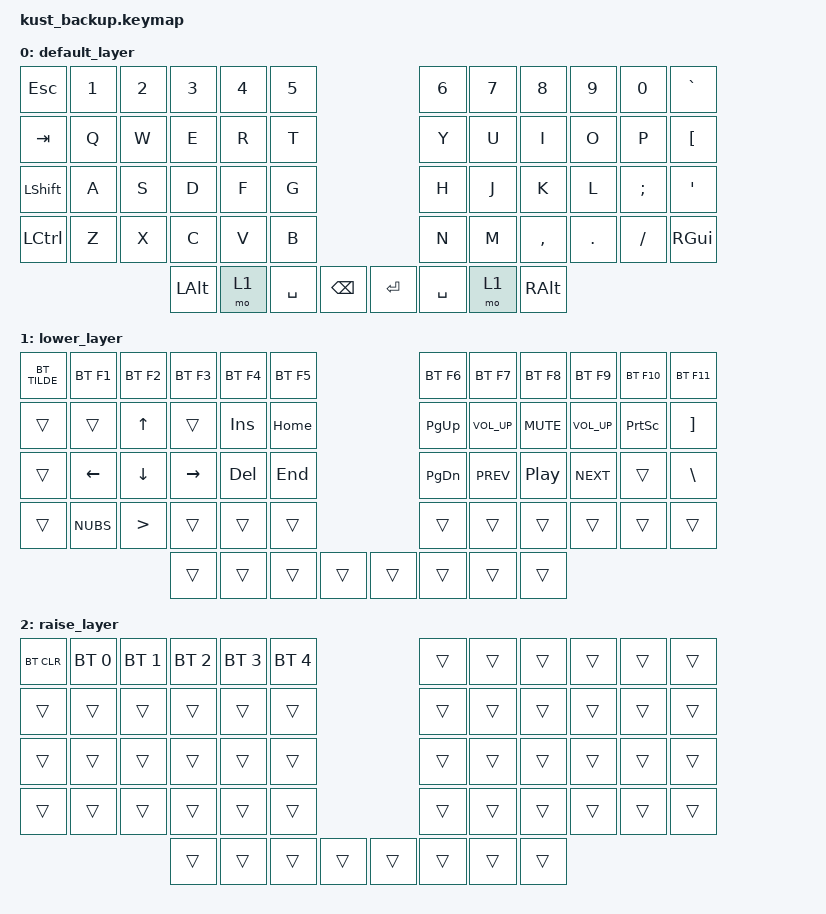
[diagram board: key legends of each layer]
/*
 * Copyright (c) 2020 The ZMK Contributors
 *
 * SPDX-License-Identifier: MIT
 */

#include <behaviors.dtsi>
#include <dt-bindings/zmk/keys.h>
#include <dt-bindings/zmk/bt.h>

/ {
	combos{
		compatible="zmk,combos";
		combo_bt{
			timeout-ms =<50>;
			key-positions = <49 54>;
			bindings = <&mo 2>;
		};
};
	keymap {
		compatible = "zmk,keymap";

		default_layer {
// ------------------------------------------------------------------------------------------------------------
// |  ESC  |  1  |  2  |  3   |  4   |  5   |                   |  6   |  7    |  8    |  9   |   0   |   `   |
// |  TAB  |  Q  |  W  |  E   |  R   |  T   |                   |  Y   |  U    |  I    |  O   |   P   |   -   |
// |  CTRL |  A  |  S  |  D   |  F   |  G   |                   |  H   |  J    |  K    |  L   |   ;   |   '   |
// | SHIFT |  Z  |  X  |  C   |  V   |  B   |   "["  |  |  "]"  |  N   |  M    |  ,    |  .   |   /   | SHIFT |
//                     		  | GUI  | LOWER|  SPACE |  | ENTER | RAISE|  ALT  |
			bindings = <
&kp ESC   &kp N1 &kp N2 &kp N3 &kp N4  &kp N5                      	&kp N6   &kp N7 &kp N8    &kp N9  &kp N0   &kp GRAVE
&kp TAB   &kp Q  &kp W  &kp E  &kp R   &kp T                       	&kp Y    &kp U  &kp I     &kp O   &kp P    &kp LBKT
&kp LSHFT &kp A  &kp S  &kp D  &kp F   &kp G                       	&kp H    &kp J  &kp K     &kp L   &kp SEMI &kp APOS
&kp LCTRL &kp Z  &kp X  &kp C  &kp V   &kp B   		  				&kp N    &kp M  &kp COMMA &kp DOT &kp FSLH &kp RGUI
            	      &kp LALT &mo 1   &kp SPACE &kp BSPC   &kp RET &kp SPACE &mo 1 &kp RALT  
			>;
		};

		lower_layer {
// ------------------------------------------------------------------------------------------------------------
// | BTCLR | BT1 | BT2 |  BT3 |  BT4 |  BT5 |                   |      |       |       |      |       |       |
// |  F1   |  F2 |  F3 |  F4  |  F5  |  F6  |                   |  F7  |  F8   |  F9   |  F10 |  F11  |  F12  |
// |   `   |  !  |  @  |  #   |  $   |  %   |                   |  ^   |  &    |  *    |  (   |   )   |   ~   |
// |       |     |     |      |      |      |        |  |       |      |  _    |  +    |  {   |   }   |  "|"  |
//                            |      |      |        |  |       |      |       |
			bindings = <
&bt TILDE  &bt F1	 &bt F2		      &bt F3	 &bt F4	   &bt F5	          			&bt F6    &bt F7       &bt F8           &bt F9    	  &bt F10   		&bt F11
&trans     &trans    &kp UP       	  &trans     &kp INS   &kp HOME           			&kp PG_UP &kp C_VOL_UP &kp C_MUTE       &kp C_VOL_UP  &kp PRINTSCREEN   &kp RBKT
&trans     &kp LEFT  &kp DOWN     	  &kp RIGHT  &kp DEL   &kp END	          			&kp PG_DN &kp C_PREV   &kp C_PLAY_PAUSE &kp C_NEXT    &trans 			&kp BSLH
&trans     &kp NUBS  &kp GREATER_THAN &trans     &trans    &trans     					&trans    &trans       &trans      		&trans  	  &trans  			&trans
                   	 				  &trans     &trans    &trans    &trans   &trans    &trans    &trans       &trans
			>;
		};

		raise_layer {
// ------------------------------------------------------------------------------------------------------------
// |       |     |     |      |      |      |                   |      |       |       |      |       |       |
// |   `   |  1  |  2  |  3   |  4   |  5   |                   |  6   |   7   |   8   |  9   |   0   |       |
// |   F1  |  F2 |  F3 |  F4  |  F5  |  F6  |                   |      |   <-  |   ^   |  v   |  ->   |       |
// |   F7  |  F8 |  F9 |  F10 |  F11 |  F12 |        |  |       |  +   |   -   |   =   |  [   |   ]   |   \   |
//                            |      |      |        |  |       |      |       |
			bindings = <
&bt BT_CLR &bt BT_SEL 0 &bt BT_SEL 1 &bt BT_SEL 2 &bt BT_SEL 3 &bt BT_SEL 4   		  	&trans      &trans    &trans    &trans   &trans    &trans
&trans     &trans 		&trans 		 &trans  	  &trans   	   &trans         		  	&trans      &trans    &trans    &trans   &trans    &trans
&trans     &trans 		&trans 		 &trans  	  &trans   	   &trans         		  	&trans      &trans    &trans    &trans   &trans    &trans
&trans     &trans 		&trans 		 &trans  	  &trans   	   &trans				  	&trans      &trans    &trans    &trans   &trans    &trans
                   					 &trans  	  &trans   	   &trans   &trans  &trans  &trans      &trans    &trans
			>;
		};
	};
};
